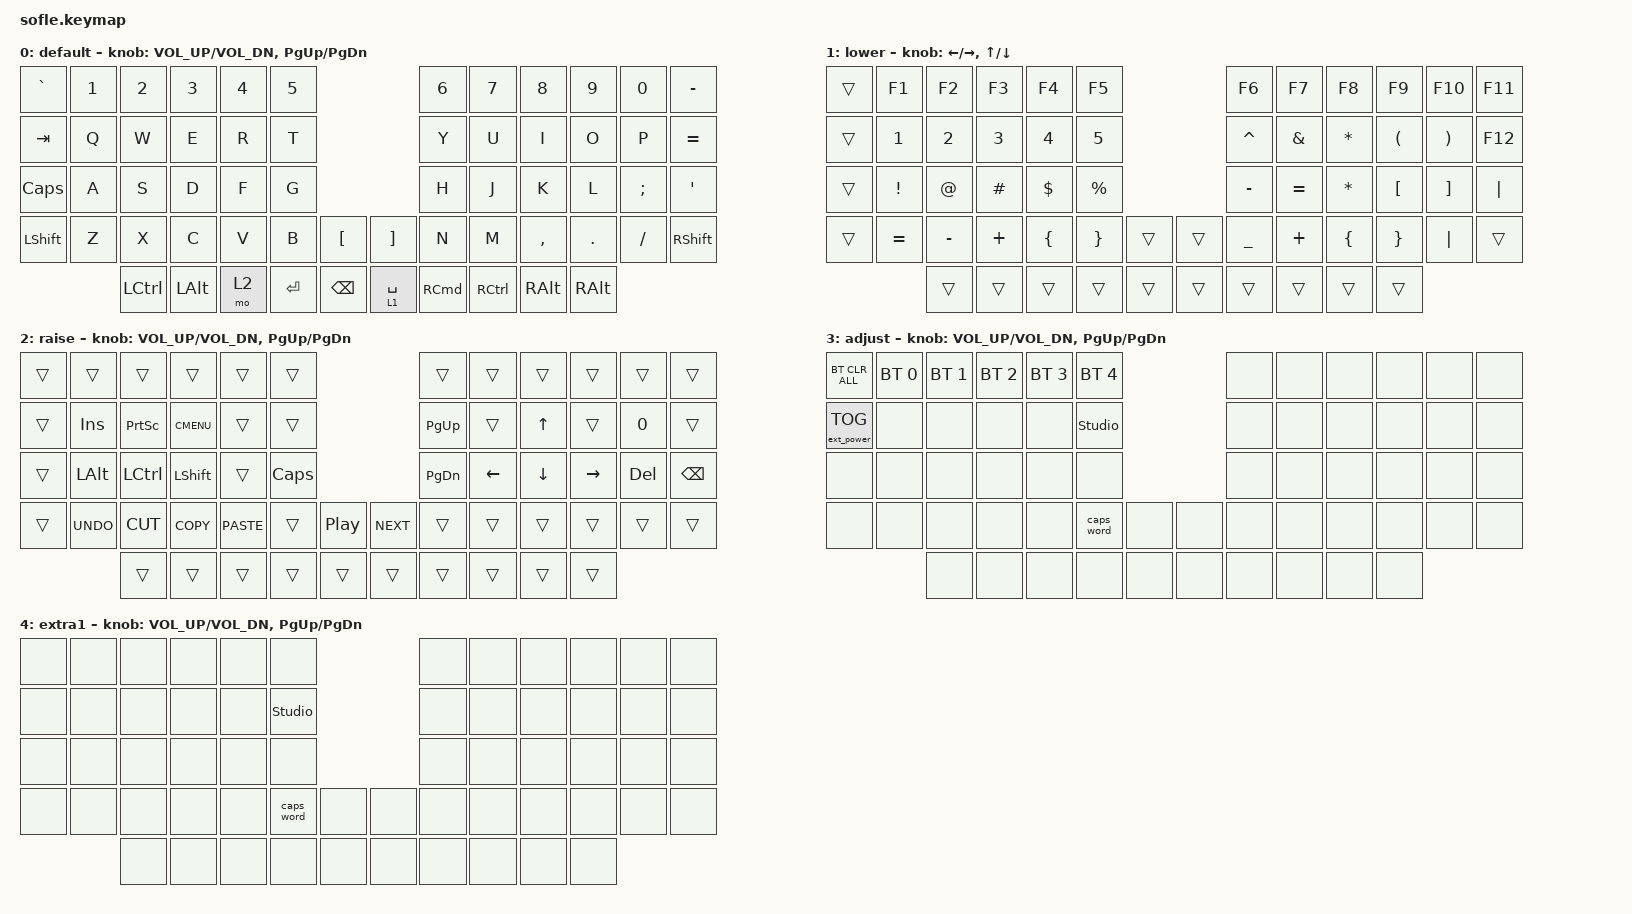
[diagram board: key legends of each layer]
/*
 * Copyright (c) 2020 The ZMK Contributors
 *
 * SPDX-License-Identifier: MIT
 */

#include <behaviors.dtsi>
#include <dt-bindings/zmk/bt.h>
#include <dt-bindings/zmk/ext_power.h>
#include <dt-bindings/zmk/keys.h>

#define BASE 0
#define LOWER 1
#define RAISE 2
#define ADJUST 3
#define extra_layer 4

/ {
    // Activate ADJUST layer by pressing raise and lower

    conditional_layers {
        compatible = "zmk,conditional-layers";

        adjust_layer {
            if-layers = <LOWER RAISE>;
            then-layer = <ADJUST>;
        };
    };

    combos {
        compatible = "zmk,combos";

        backspace {
            bindings = <&kp BACKSPACE>;
            key-positions = <32 31>;
        };
    };

    behaviors {
        caps: caps {
            compatible = "zmk,behavior-caps-word";
            label = "CAPS";
            #binding-cells = <0>;
            continue-list = <POUND MINUS BACKSPACE UNDERSCORE>;
        };

        Globe: Globe {
            compatible = "zmk,behavior-tap-dance";
            label = "GLOBE";
            #binding-cells = <0>;
            bindings = <&kp LEFT_SHIFT>, <&kp C_AC_NEXT_KEYBOARD_LAYOUT_SELECT>;

            tapping-term-ms = <200>;
        };

        tap_hold_layer: tap_hold_layer {
            compatible = "zmk,behavior-hold-tap";
            label = "TAP_HOLD_LAYER";
            bindings = <&mo>, <&kp>;

            #binding-cells = <2>;
            tapping-term-ms = <200>;
            quick-tap-ms = <175>;
            flavor = "tap-preferred";
        };
    };

    keymap {
        compatible = "zmk,keymap";

        default_layer {
            display-name = "default";

            // ------------------------------------------------------------------------------------------------------------
            // |   `   |  1  |  2  |  3   |  4   |  5   |                   |  6   |  7    |  8    |  9   |   0   |       |
            // |  ESC  |  Q  |  W  |  E   |  R   |  T   |                   |  Y   |  U    |  I    |  O   |   P   | BKSPC |
            // |  TAB  |  A  |  S  |  D   |  F   |  G   |                   |  H   |  J    |  K    |  L   |   ;   |   '   |
            // | SHIFT |  Z  |  X  |  C   |  V   |  B   |  MUTE  |  |       |  N   |  M    |  ,    |  .   |   /   | SHIFT |
            //               | GUI | ALT  | CTRL | LOWER|  ENTER |  | SPACE | RAISE| CTRL  | ALT   | GUI  |

            bindings = <
&kp GRAVE       &kp N1  &kp N2            &kp N3    &kp N4  &kp N5                                               &kp N6             &kp N7             &kp N8         &kp N9         &kp N0    &kp MINUS
&kp TAB         &kp Q   &kp W             &kp E     &kp R   &kp T                                                &kp Y              &kp U              &kp I          &kp O          &kp P     &kp EQUAL
&kp CAPSLOCK    &kp A   &kp S             &kp D     &kp F   &kp G                                                &kp H              &kp J              &kp K          &kp L          &kp SEMI  &kp SQT
&kp LEFT_SHIFT  &kp Z   &kp X             &kp C     &kp V   &kp B      &kp LBKT         &kp RBKT                 &kp N              &kp M              &kp COMMA      &kp DOT        &kp FSLH  &kp RSHFT
                        &kp LEFT_CONTROL  &kp LALT  &mo 2   &kp ENTER  &kp BACKSPACE    &tap_hold_layer 1 SPACE  &kp RIGHT_COMMAND  &kp RIGHT_CONTROL  &kp RIGHT_ALT  &kp RIGHT_ALT
            >;

            sensor-bindings = <&inc_dec_kp C_VOL_UP C_VOL_DN &inc_dec_kp PG_UP PG_DN>;
        };

        lower_layer {
            display-name = "lower";

            // TODO: Some binds are waiting for shifted keycode support.
            // ------------------------------------------------------------------------------------------------------------
            // |       |  F1 |  F2 |  F3  |  F4  |  F5  |                   |  F6  |  F7   |  F8   |  F9  |  F10  |  F11  |
            // |   `   |  1  |  2  |  3   |  4   |  5   |                   |  6   |  7    |  8    |  9   |   0   |  F12  |
            // |       |  !  |  @  |  #   |  $   |  %   |                   |  ^   |  &    |  *    |  (   |   )   |   |   |
            // |       |  =  |  -  |  +   |  {   |  }   |        |  |       |  [   |  ]    |  ;    |  :   |   \   |       |
            //               |     |      |      |      |        |  |       |      |       |       |      |

            bindings = <
&trans  &kp F1     &kp F2     &kp F3    &kp F4    &kp F5                       &kp F6          &kp F7         &kp F8          &kp F9                &kp F10                &kp F11
&trans  &kp N1     &kp N2     &kp N3    &kp N4    &kp N5                       &kp CARET       &kp AMPERSAND  &kp ASTRK       &kp LEFT_PARENTHESIS  &kp RIGHT_PARENTHESIS  &kp F12
&trans  &kp EXCL   &kp AT     &kp HASH  &kp DLLR  &kp PRCNT                    &kp MINUS       &kp EQUAL      &kp ASTRK       &kp LEFT_BRACKET      &kp RIGHT_BRACKET      &kp PIPE
&trans  &kp EQUAL  &kp MINUS  &kp PLUS  &kp LBRC  &kp RBRC   &trans    &trans  &kp UNDERSCORE  &kp PLUS       &kp LEFT_BRACE  &kp RIGHT_BRACE       &kp PIPE               &trans
                   &trans     &trans    &trans    &trans     &trans    &trans  &trans          &trans         &trans          &trans
            >;

            sensor-bindings =
                <&inc_dec_kp LEFT_ARROW RIGHT_ARROW>,
                <&inc_dec_kp UP_ARROW DOWN_ARROW>;
        };

        raise_layer {
            display-name = "raise";

            // ------------------------------------------------------------------------------------------------------------
            // | BTCLR | BT1  | BT2  |  BT3  |  BT4  |  BT5 |                |      |      |       |      |       |       |
            // |       | INS  | PSCR | GUI   |       |      |                | PGUP |      |   ^   |      |       |       |
            // |       | ALT  | CTRL | SHIFT |       | CAPS |                | PGDN |   <- |   v   |  ->  |  DEL  | BKSPC |
            // |       | UNDO | CUT  | COPY  | PASTE |      |      |  |      |      |      |       |      |       |       |
            //                |      |       |       |      |      |  |      |      |      |       |      |

            bindings = <
&trans  &trans      &trans     &trans       &trans       &trans                                    &trans     &trans    &trans    &trans     &trans   &trans
&trans  &kp INS     &kp PSCRN  &kp K_CMENU  &trans       &trans                                    &kp PG_UP  &trans    &kp UP    &trans     &kp N0   &trans
&trans  &kp LALT    &kp LCTRL  &kp LSHFT    &trans       &kp CLCK                                  &kp PG_DN  &kp LEFT  &kp DOWN  &kp RIGHT  &kp DEL  &kp BSPC
&trans  &kp K_UNDO  &kp K_CUT  &kp K_COPY   &kp K_PASTE  &trans    &kp C_PLAY_PAUSE    &kp C_NEXT  &trans     &trans    &trans    &trans     &trans   &trans
                    &trans     &trans       &trans       &trans    &trans              &trans      &trans     &trans    &trans    &trans
            >;

            sensor-bindings = <&inc_dec_kp C_VOL_UP C_VOL_DN &inc_dec_kp PG_UP PG_DN>;
        };

        adjust_layer {
            // ----------------------------------------------------------------------------------------------------------------------------
            // | BTCLR  |  BT1    |  BT2    |   BT3   |   BT4   |   BT5   |                  |      |      |       |      |       |       |
            // | EXTPWR | RGB_HUD | RGB_HUI | RGB_SAD | RGB_SAI | RGB_EFF |                  |      |      |       |      |       |       |
            // |        | RGB_BRD | RGB_BRI |         |         |         |                  |      |      |       |      |       |       |
            // |        |         |         |         |         |         | RGB_TOG | |      |      |      |       |      |       |       |
            //                    |         |         |         |         |         | |      |      |      |       |      |

            display-name = "adjust";
            bindings = <
&bt BT_CLR_ALL     &bt BT_SEL 0  &bt BT_SEL 1  &bt BT_SEL 2  &bt BT_SEL 3  &bt BT_SEL 4                    &none  &none  &none  &none  &none  &none
&ext_power EP_TOG  &none         &none         &none         &none         &studio_unlock                  &none  &none  &none  &none  &none  &none
&none              &none         &none         &none         &none         &none                           &none  &none  &none  &none  &none  &none
&none              &none         &none         &none         &none         &caps_word      &none    &none  &none  &none  &none  &none  &none  &none
                                 &none         &none         &none         &none           &none    &none  &none  &none  &none  &none
            >;

            sensor-bindings = <&inc_dec_kp C_VOL_UP C_VOL_DN &inc_dec_kp PG_UP PG_DN>;
        };

        extra_layer {
            // ----------------------------------------------------------------------------------------------------------------------------
            // | BTCLR  |  BT1    |  BT2    |   BT3   |   BT4   |   BT5   |                  |      |      |       |      |       |       |
            // | EXTPWR | RGB_HUD | RGB_HUI | RGB_SAD | RGB_SAI | RGB_EFF |                  |      |      |       |      |       |       |
            // |        | RGB_BRD | RGB_BRI |         |         |         |                  |      |      |       |      |       |       |
            // |        |         |         |         |         |         | RGB_TOG | |      |      |      |       |      |       |       |
            //                    |         |         |         |         |         | |      |      |      |       |      |

            display-name = "extra1";
            bindings = <
&none  &none  &none  &none  &none  &none                           &none  &none  &none  &none  &none  &none
&none  &none  &none  &none  &none  &studio_unlock                  &none  &none  &none  &none  &none  &none
&none  &none  &none  &none  &none  &none                           &none  &none  &none  &none  &none  &none
&none  &none  &none  &none  &none  &caps_word      &none    &none  &none  &none  &none  &none  &none  &none
              &none  &none  &none  &none           &none    &none  &none  &none  &none  &none
            >;

            sensor-bindings = <&inc_dec_kp C_VOL_UP C_VOL_DN &inc_dec_kp PG_UP PG_DN>;
        };
    };
};
